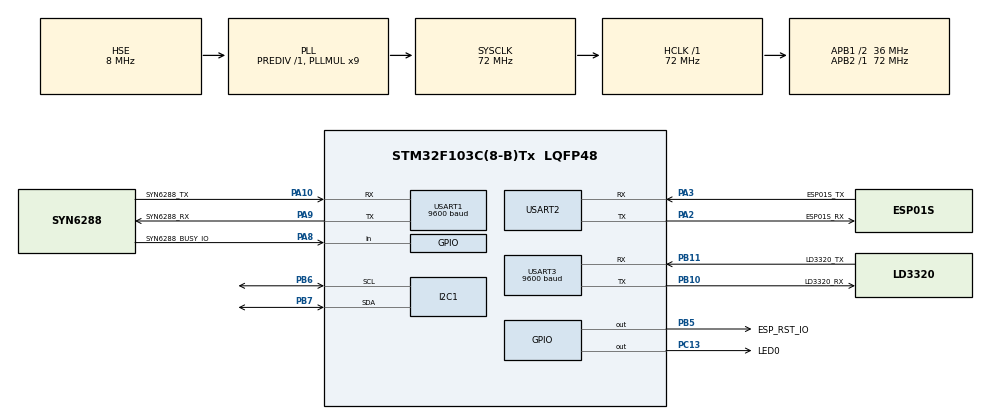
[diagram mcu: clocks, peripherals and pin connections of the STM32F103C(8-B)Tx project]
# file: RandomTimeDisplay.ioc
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Dma.Request0=USART1_RX
Dma.Request1=USART1_TX
Dma.USART1_RX.0.Direction=DMA_PERIPH_TO_MEMORY
Dma.USART1_RX.0.Instance=DMA1_Channel5
Dma.USART1_RX.0.MemDataAlignment=DMA_MDATAALIGN_BYTE
Dma.USART1_RX.0.MemInc=DMA_MINC_ENABLE
Dma.USART1_RX.0.Mode=DMA_NORMAL
Dma.USART1_RX.0.PeriphDataAlignment=DMA_PDATAALIGN_BYTE
Dma.USART1_RX.0.PeriphInc=DMA_PINC_DISABLE
Dma.USART1_RX.0.Priority=DMA_PRIORITY_MEDIUM
Dma.USART1_TX.1.Direction=DMA_MEMORY_TO_PERIPH
Dma.USART1_TX.1.Instance=DMA1_Channel4
Dma.USART1_TX.1.MemDataAlignment=DMA_MDATAALIGN_BYTE
Dma.USART1_TX.1.MemInc=DMA_MINC_ENABLE
Dma.USART1_TX.1.Mode=DMA_NORMAL
Dma.USART1_TX.1.PeriphDataAlignment=DMA_PDATAALIGN_BYTE
Dma.USART1_TX.1.PeriphInc=DMA_PINC_DISABLE
Dma.USART1_TX.1.Priority=DMA_PRIORITY_MEDIUM
FREERTOS.BinarySemaphores01=Usart1_Receive_BinSemaphore,Dynamic,NULL;oled_refreash,Dynamic,NULL
FREERTOS.Tasks01=defaultTask,0,256,StartDefaultTask,Default,NULL,Dynamic,NULL,NULL;LED_TASK,-2,128,led_task,Default,NULL,Dynamic,NULL,NULL
FREERTOS.Timers01=time_1s,time_1s_cb,osTimerPeriodic,Default,NULL,Dynamic,NULL;ld3320_uartrecv_tim,ld3320_uartrecv_tim_cb,osTimerPeriodic,Default,NULL,Dynamic,NULL
FREERTOS.configTOTAL_HEAP_SIZE=5120
FREERTOS.configUSE_TIMERS=1
Mcu.Family=STM32F1
Mcu.Name=STM32F103C(8-B)Tx
Mcu.Package=LQFP48
NVIC.DMA1_Channel4_IRQn=true\:5\:0\:false\:false\:true\:true\:false\:true\:true
NVIC.DMA1_Channel5_IRQn=true\:5\:0\:false\:false\:true\:true\:false\:true\:true
NVIC.PriorityGroup=NVIC_PRIORITYGROUP_4
NVIC.TIM2_IRQn=true\:0\:0\:false\:false\:true\:false\:false\:true\:true
NVIC.TimeBase=TIM2_IRQn
NVIC.TimeBaseIP=TIM2
NVIC.USART1_IRQn=true\:5\:0\:false\:false\:true\:true\:true\:true\:true
NVIC.USART3_IRQn=true\:5\:0\:true\:false\:true\:true\:true\:true\:true
PA10.GPIO_Label=SYN6288_TX
PA10.Mode=Asynchronous
PA10.Signal=USART1_RX
PA13.Mode=Serial_Wire
PA13.Signal=SYS_JTMS-SWDIO
PA14.Mode=Serial_Wire
PA14.Signal=SYS_JTCK-SWCLK
PA2.GPIO_Label=ESP01S_RX
PA2.Mode=Asynchronous
PA2.Signal=USART2_TX
PA3.GPIO_Label=ESP01S_TX
PA3.Mode=Asynchronous
PA3.Signal=USART2_RX
PA8.GPIO_Label=SYN6288_BUSY_IO
PA8.Signal=GPIO_Input
PA9.GPIO_Label=SYN6288_RX
PA9.Mode=Asynchronous
PA9.Signal=USART1_TX
PB10.GPIO_Label=LD3320_RX
PB10.Mode=Asynchronous
PB10.Signal=USART3_TX
PB11.GPIO_Label=LD3320_TX
PB11.Mode=Asynchronous
PB11.Signal=USART3_RX
PB5.GPIO_Label=ESP_RST_IO
PB5.GPIO_PuPd=GPIO_PULLUP
PB5.Signal=GPIO_Output
PB6.Mode=I2C
PB6.Signal=I2C1_SCL
PB7.Mode=I2C
PB7.Signal=I2C1_SDA
PC13-TAMPER-RTC.GPIO_Label=LED0
PC13-TAMPER-RTC.GPIO_PuPd=GPIO_PULLUP
PC13-TAMPER-RTC.PinState=GPIO_PIN_SET
PC13-TAMPER-RTC.Signal=GPIO_Output
PD0-OSC_IN.Mode=HSE-External-Oscillator
PD0-OSC_IN.Signal=RCC_OSC_IN
PD1-OSC_OUT.Mode=HSE-External-Oscillator
PD1-OSC_OUT.Signal=RCC_OSC_OUT
ProjectManager.HeapSize=0x1c00
ProjectManager.StackSize=0x400
ProjectManager.TargetToolchain=MDK-ARM V5.27
RCC.AHBFreq_Value=72000000
RCC.APB1CLKDivider=RCC_HCLK_DIV2
RCC.APB1Freq_Value=36000000
RCC.APB1TimFreq_Value=72000000
RCC.APB2Freq_Value=72000000
RCC.APB2TimFreq_Value=72000000
RCC.HCLKFreq_Value=72000000
RCC.PLLMUL=RCC_PLL_MUL9
RCC.PLLSourceVirtual=RCC_PLLSOURCE_HSE
RCC.SYSCLKFreq_VALUE=72000000
RCC.SYSCLKSource=RCC_SYSCLKSOURCE_PLLCLK
RCC.USBFreq_Value=72000000
USART1.BaudRate=9600
USART1.VirtualMode=VM_ASYNC
USART2.VirtualMode=VM_ASYNC
USART3.BaudRate=9600
USART3.VirtualMode=VM_ASYNC
VP_FREERTOS_VS_CMSIS_V1.Mode=CMSIS_V1
VP_SYS_VS_tim2.Mode=TIM2
board=custom

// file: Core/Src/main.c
/* USER CODE BEGIN Header */
/**
  ******************************************************************************
  * @file           : main.c
  * @brief          : Main program body
  ******************************************************************************
  * @attention
  *
  * <h2><center>&copy; Copyright (c) 2022 STMicroelectronics.
  * All rights reserved.</center></h2>
  *
  * This software component is licensed by ST under Ultimate Liberty license
  * SLA0044, the "License"; You may not use this file except in compliance with
  * the License. You may obtain a copy of the License at:
  *                             www.st.com/SLA0044
  *
  ******************************************************************************
  */
/* USER CODE END Header */
#include "main.h"
#include "cmsis_os.h"
#include "dma.h"
#include "i2c.h"
#include "usart.h"
#include "gpio.h"

/* USER CODE BEGIN Includes */
#include "delay.h"
/* USER CODE END Includes */

void SystemClock_Config(void);
void MX_FREERTOS_Init(void);

int main(void)
{

  /* MCU Configuration--------------------------------------------------------*/

  /* Reset of all peripherals, Initializes the Flash interface and the Systick. */
  HAL_Init();

  /* Configure the system clock */
  SystemClock_Config();

  /* Initialize all configured peripherals */
  MX_GPIO_Init();
  MX_DMA_Init();
  MX_USART1_UART_Init();
  MX_I2C1_Init();
  MX_USART2_UART_Init();
  MX_USART3_UART_Init();
  /* USER CODE BEGIN 2 */
	delay_init();
	//HAL_UART_Receive_DMA(&huart1, (uint8_t*)USART_RX_BUF, USART_REC_LEN);     //设置DMA传输，将串口1的数据搬运到recvive_buff中，每次255个字节
  /* USER CODE END 2 */

  /* Call init function for freertos objects (in freertos.c) */
  MX_FREERTOS_Init();

  /* Start scheduler */
  osKernelStart();

  /* We should never get here as control is now taken by the scheduler */
  /* Infinite loop */
  while (1)
  {

  }
}

void SystemClock_Config(void)
{
  RCC_OscInitTypeDef RCC_OscInitStruct = {0};
  RCC_ClkInitTypeDef RCC_ClkInitStruct = {0};

  /** Initializes the RCC Oscillators according to the specified parameters
  * in the RCC_OscInitTypeDef structure.
  */
  RCC_OscInitStruct.OscillatorType = RCC_OSCILLATORTYPE_HSE;
  RCC_OscInitStruct.HSEState = RCC_HSE_ON;
  RCC_OscInitStruct.HSEPredivValue = RCC_HSE_PREDIV_DIV1;
  RCC_OscInitStruct.HSIState = RCC_HSI_ON;
  RCC_OscInitStruct.PLL.PLLState = RCC_PLL_ON;
  RCC_OscInitStruct.PLL.PLLSource = RCC_PLLSOURCE_HSE;
  RCC_OscInitStruct.PLL.PLLMUL = RCC_PLL_MUL9;
  if (HAL_RCC_OscConfig(&RCC_OscInitStruct) != HAL_OK)
  {
    Error_Handler();
  }

  /** Initializes the CPU, AHB and APB buses clocks
  */
  RCC_ClkInitStruct.ClockType = RCC_CLOCKTYPE_HCLK|RCC_CLOCKTYPE_SYSCLK
                              |RCC_CLOCKTYPE_PCLK1|RCC_CLOCKTYPE_PCLK2;
  RCC_ClkInitStruct.SYSCLKSource = RCC_SYSCLKSOURCE_PLLCLK;
  RCC_ClkInitStruct.AHBCLKDivider = RCC_SYSCLK_DIV1;
  RCC_ClkInitStruct.APB1CLKDivider = RCC_HCLK_DIV2;
  RCC_ClkInitStruct.APB2CLKDivider = RCC_HCLK_DIV1;

  if (HAL_RCC_ClockConfig(&RCC_ClkInitStruct, FLASH_LATENCY_2) != HAL_OK)
  {
    Error_Handler();
  }
}

void HAL_TIM_PeriodElapsedCallback(TIM_HandleTypeDef *htim)
{
  if (htim->Instance == TIM2) {
    HAL_IncTick();
  }
}

void Error_Handler(void)
{
  __disable_irq();
  while (1)
  {
  }
}

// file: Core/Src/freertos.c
/* USER CODE BEGIN Header */
/**
 ******************************************************************************
 * File Name          : freertos.c
 * Description        : Code for freertos applications
 ******************************************************************************
 * @attention
 *
 * <h2><center>&copy; Copyright (c) 2022 STMicroelectronics.
 * All rights reserved.</center></h2>
 *
 * This software component is licensed by ST under Ultimate Liberty license
 * SLA0044, the "License"; You may not use this file except in compliance with
 * the License. You may obtain a copy of the License at:
 *                             www.st.com/SLA0044
 *
 ******************************************************************************
 */
/* USER CODE END Header */

#include "FreeRTOS.h"
#include "task.h"
#include "main.h"
#include "cmsis_os.h"

/* USER CODE BEGIN Includes */
#include "semphr.h"
#include "delay.h"
#include "led.h"
#include "key.h"
#include "usart.h"
#include "string.h"
#include <stdio.h>
#include "usart1.h"
#include "stm32_voice_weather_forecast.h"
/* USER CODE END Includes */

/* USER CODE BEGIN Variables */
/**
 * @name: stm32_voice_weather_forecast_en_weather_to_hz
 * @msg: 英文天气转汉字天气, 放在这是因为要汉字编码问题, 这个文件使用gb2312编码,
 * 别的文件utf-8编码, 放别的地方会编译报错
 * @param {char} *weather_en
 * @return {*}
 * @author: TOTHTOT
 * @Date: 2024-05-11 21:40:38
 */
char *stm32_voice_weather_forecast_en_weather_to_hz(char *weather_en)
{
    char *weather_hz = malloc(10);
	memset(weather_hz, 0, 10);
    // char *result = NULL;

    if (strstr(weather_en, "Clear") != NULL)
    {
        strcpy(weather_hz, "晴");
    }
    else if (strstr(weather_en, "Overcast") != NULL)
    {
        strcpy(weather_hz, "阴天");
    }
    else if (strstr(weather_en, "Cloudy") != NULL)
    {
        strcpy(weather_hz, "多云");
    }
    else
    {
        strcpy(weather_hz, "雨");
    }

    return weather_hz;
}
/* USER CODE END Variables */
osThreadId defaultTaskHandle;
osThreadId LED_TASKHandle;
osTimerId time_1sHandle;
osTimerId ld3320_uartrecv_timHandle;
osSemaphoreId Usart1_Receive_BinSemaphoreHandle;
osSemaphoreId oled_refreashHandle;

void StartDefaultTask(void const * argument);
void led_task(void const * argument);
void time_1s_cb(void const * argument);
void ld3320_uartrecv_tim_cb(void const * argument);

void MX_FREERTOS_Init(void); /* (MISRA C 2004 rule 8.1) */

/* GetIdleTaskMemory prototype (linked to static allocation support) */
void vApplicationGetIdleTaskMemory( StaticTask_t **ppxIdleTaskTCBBuffer, StackType_t **ppxIdleTaskStackBuffer, uint32_t *pulIdleTaskStackSize );

/* GetTimerTaskMemory prototype (linked to static allocation support) */
void vApplicationGetTimerTaskMemory( StaticTask_t **ppxTimerTaskTCBBuffer, StackType_t **ppxTimerTaskStackBuffer, uint32_t *pulTimerTaskStackSize );

/* USER CODE BEGIN GET_IDLE_TASK_MEMORY */
static StaticTask_t xIdleTaskTCBBuffer;
static StackType_t xIdleStack[configMINIMAL_STACK_SIZE];

void vApplicationGetIdleTaskMemory( StaticTask_t **ppxIdleTaskTCBBuffer, StackType_t **ppxIdleTaskStackBuffer, uint32_t *pulIdleTaskStackSize )
{
  *ppxIdleTaskTCBBuffer = &xIdleTaskTCBBuffer;
  *ppxIdleTaskStackBuffer = &xIdleStack[0];
  *pulIdleTaskStackSize = configMINIMAL_STACK_SIZE;
  /* place for user code */
}
/* USER CODE END GET_IDLE_TASK_MEMORY */

/* USER CODE BEGIN GET_TIMER_TASK_MEMORY */
static StaticTask_t xTimerTaskTCBBuffer;
static StackType_t xTimerStack[configTIMER_TASK_STACK_DEPTH];

void vApplicationGetTimerTaskMemory( StaticTask_t **ppxTimerTaskTCBBuffer, StackType_t **ppxTimerTaskStackBuffer, uint32_t *pulTimerTaskStackSize )
{
  *ppxTimerTaskTCBBuffer = &xTimerTaskTCBBuffer;
  *ppxTimerTaskStackBuffer = &xTimerStack[0];
  *pulTimerTaskStackSize = configTIMER_TASK_STACK_DEPTH;
  /* place for user code */
}
/* USER CODE END GET_TIMER_TASK_MEMORY */

void MX_FREERTOS_Init(void) {

  /* Create the semaphores(s) */
  /* definition and creation of Usart1_Receive_BinSemaphore */
  osSemaphoreDef(Usart1_Receive_BinSemaphore);
  Usart1_Receive_BinSemaphoreHandle = osSemaphoreCreate(osSemaphore(Usart1_Receive_BinSemaphore), 1);

  /* definition and creation of oled_refreash */
  osSemaphoreDef(oled_refreash);
  oled_refreashHandle = osSemaphoreCreate(osSemaphore(oled_refreash), 1);

  /* USER CODE BEGIN RTOS_SEMAPHORES */
  /* add semaphores, ... */
    xSemaphoreTake(Usart1_Receive_BinSemaphoreHandle, portMAX_DELAY);
  /* USER CODE END RTOS_SEMAPHORES */

  /* Create the timer(s) */
  /* definition and creation of time_1s */
  osTimerDef(time_1s, time_1s_cb);
  time_1sHandle = osTimerCreate(osTimer(time_1s), osTimerPeriodic, NULL);

  /* definition and creation of ld3320_uartrecv_tim */
  osTimerDef(ld3320_uartrecv_tim, ld3320_uartrecv_tim_cb);
  ld3320_uartrecv_timHandle = osTimerCreate(osTimer(ld3320_uartrecv_tim), osTimerPeriodic, NULL);

  /* Create the thread(s) */
  /* definition and creation of defaultTask */
  osThreadDef(defaultTask, StartDefaultTask, osPriorityRealtime, 0, 512);
  defaultTaskHandle = osThreadCreate(osThread(defaultTask), NULL);

  /* definition and creation of LED_TASK */
  osThreadDef(LED_TASK, led_task, osPriorityLow, 0, 128);
  LED_TASKHandle = osThreadCreate(osThread(LED_TASK), NULL);

}

void StartDefaultTask(void const * argument)
{
  /* USER CODE BEGIN StartDefaultTask */
    uint32_t loop_times = 0;
    stm32_voice_weather_forecast_t *p_dev_st = &g_stm32_voice_weather_forecast_st;

    if (stm32_voice_weather_forecast_init(&g_stm32_voice_weather_forecast_st) != 0)
    {
        g_stm32_voice_weather_forecast_st.system_is_ready = false;
        return;
    }
    g_stm32_voice_weather_forecast_st.system_is_ready = true;
    /* Infinite loop */
    for (;;)
    {
        if (g_stm32_voice_weather_forecast_st.system_is_ready != true)
            osDelay(10000);

        if (loop_times %10 == 0)
        {
            // 500ms 刷新屏幕天气信息
            if (loop_times % 50 == 0)
            {
                g_stm32_voice_weather_forecast_st.cur_show_weather_info_index++;
                if (g_stm32_voice_weather_forecast_st.cur_show_weather_info_index > WEATHER_INFO_INDEX_TOMORROW)
                    g_stm32_voice_weather_forecast_st.cur_show_weather_info_index = WEATHER_INFO_INDEX_YESTERDAY;
                // INFO_PRINT("cur_show_weather_info_index = %d\r\n", g_stm32_voice_weather_forecast_st.cur_show_weather_info_index);
            }
            u8g2_refresh_scr(&g_stm32_voice_weather_forecast_st);
        }

        if (p_dev_st->system_is_ready == true && p_dev_st->get_weather_flag == true)
        {
            char city_name[50] = {0};
            uint8_t ret = 0;

            if (stm32_voice_weather_forecast_analysis_ld3320_data(p_dev_st->devices_info.p_ld3320_dev_st->uart_info_st.rxbuf, city_name) == 0)
            {
                INFO_PRINT("city_name = %s\r\n", city_name);
                // 获取天气数据
                if ((ret = p_dev_st->devices_info.p_esp_at_dev_st->ops_func.get_weather(p_dev_st->devices_info.p_esp_at_dev_st, city_name)) != 0)
                {
                    ERROR_PRINT("get_weather() fail[%d]\r\n", ret);
                    p_dev_st->devices_info.p_syn6288_dev_st->ops_func.send_frame_info(p_dev_st->devices_info.p_syn6288_dev_st, 0, "获取天气数据失败1");
                }
                else
                {
                    char frame_info[100] = {0};
                    weather_info_t weather_info_st[3]; // 天气信息, 0: 昨天, 1: 今天, 2: 明天;
                    stm32_voice_weather_forecast_analysis_json_weather((char *)p_dev_st->devices_info.p_esp_at_dev_st->uart_info_st.rxbuf, weather_info_st, 3);
                    delay_ms(100);
                    sprintf(frame_info, "天气%s最高温度%d度湿度%d风速%2.1f米每秒",
                            stm32_voice_weather_forecast_en_weather_to_hz((char *)weather_info_st[WEATHER_INFO_INDEX_TODAY].weather),
                            weather_info_st[WEATHER_INFO_INDEX_TODAY].temperature_high,
					        weather_info_st[WEATHER_INFO_INDEX_TODAY].humidity,
                            weather_info_st[WEATHER_INFO_INDEX_TODAY].wind_speed);
                    p_dev_st->devices_info.p_syn6288_dev_st->ops_func.send_frame_info(p_dev_st->devices_info.p_syn6288_dev_st, 0, (uint8_t *)frame_info);
                }
            }
            #if 0
            else
            {
                ERROR_PRINT("check rxbuf fail[%s]\r\n", p_dev_st->devices_info.p_ld3320_dev_st->uart_info_st.rxbuf);
                for (int i = 0; i < p_dev_st->devices_info.p_ld3320_dev_st->uart_info_st.rxindex; i++)
                {
                    printf("%#x ", p_dev_st->devices_info.p_ld3320_dev_st->uart_info_st.rxbuf[i]);
                }
                p_dev_st->devices_info.p_syn6288_dev_st->ops_func.send_frame_info(p_dev_st->devices_info.p_syn6288_dev_st, 0, "获取天气数据失败2");
            }
            #endif
            p_dev_st->devices_info.p_esp_at_dev_st->ops_func.exit_cmd_mode(p_dev_st->devices_info.p_esp_at_dev_st);
            p_dev_st->devices_info.p_esp_at_dev_st->ops_func.closecip(p_dev_st->devices_info.p_esp_at_dev_st);
            // 处理完清空数据
            memset(&p_dev_st->devices_info.p_ld3320_dev_st->uart_info_st, 0,
                   sizeof(p_dev_st->devices_info.p_ld3320_dev_st->uart_info_st));
            p_dev_st->get_weather_flag = false;
        }

        loop_times++;
        osDelay(DEFAULT_THR_DELAY_TIME_MS);
    }
  /* USER CODE END StartDefaultTask */
}

void led_task(void const * argument)
{
    /* USER CODE BEGIN led_task */
    /* Infinite loop */
    uint32_t loop_times = 0;
    for (;;)
    {
        // INFO_PRINT("led\r\n");
        if (loop_times % 10 == 0)
            LED0_TOGGLE;

        loop_times++;
        delay_ms(50);
    }
    /* USER CODE END led_task */
}

/* time_1s_cb function */
void time_1s_cb(void const * argument)
{
  /* USER CODE BEGIN time_1s_cb */
    system_time_increase(&g_stm32_voice_weather_forecast_st.time_info);
  /* USER CODE END time_1s_cb */
}

/* ld3320_uartrecv_tim_cb function */
void ld3320_uartrecv_tim_cb(void const * argument)
{
  /* USER CODE BEGIN ld3320_uartrecv_tim_cb */
    stm32_voice_weather_forecast_t *p_dev_st = &g_stm32_voice_weather_forecast_st;
    osTimerStop(ld3320_uartrecv_timHandle);
    p_dev_st->get_weather_flag = true;
    /* USER CODE END ld3320_uartrecv_tim_cb */
}
